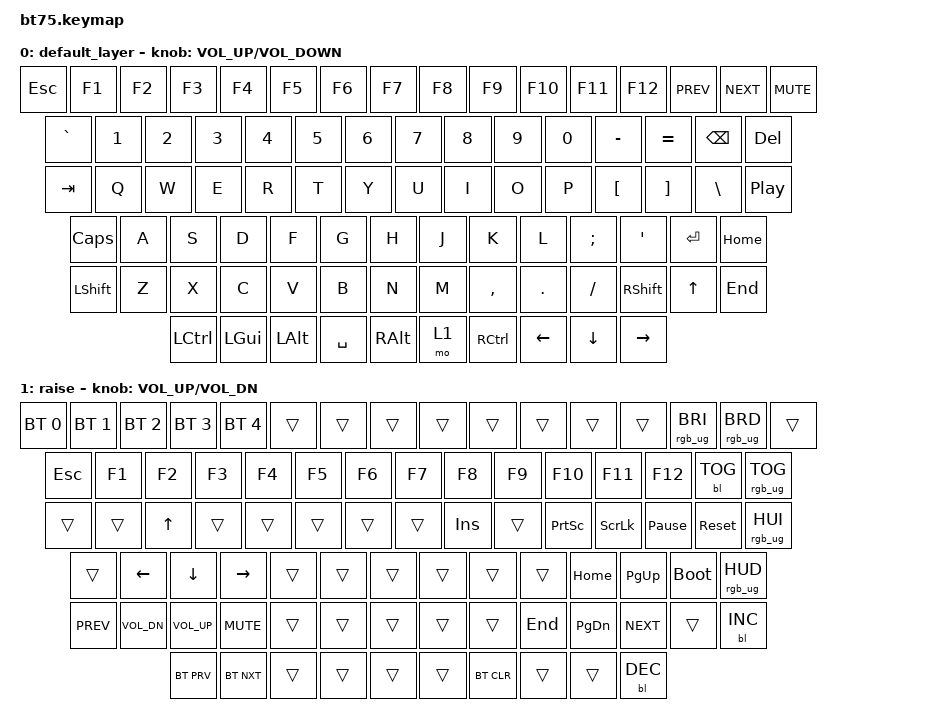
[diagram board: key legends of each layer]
#include <behaviors.dtsi>
#include <dt-bindings/zmk/backlight.h>
#include <dt-bindings/zmk/bt.h>
#include <dt-bindings/zmk/keys.h>
#include <dt-bindings/zmk/rgb.h>

/ {
    keymap {
        compatible = "zmk,keymap";

        default_layer {
            // ------------------------------------------------------------------------------------------------------------
            // | ESC | F1  | F2  | F3  | F4  | F5  | F6  | F7  | F9  | F9  | F10 | F11 | F12 | PSCRN | INS | DEL	|
            // |  `  |  1  |  2  |  3  |  4  |  5  |  6  |  7  |  8  |  9  |  0  |  -  |  =  |   BKSP   | HOME	|
            // | TAB  |  Q  |  W  |  E  |  R  |  T  |  Y  |  U  |  I  |  O  |  P  |  [  |  ]  |    \    | PG UP |
            // | CAPS  |  A  |  S  |  D  |  F  |  G  |  H  |  J  |  K  |  L  |  ;  |  '  |     ENTER     | PG DN |
            // |  SHIFT    |  Z  |  X  |  C  |  V  |  B  |  N  |  M  |  ,  |  .  | /   |    SHIFT |  UP  |  END  |
            // |  CTL  |  WIN  |  ALT  |            SPACE               | ALT | 1  | CTRL |  LEFT | DOWN | RIGHT |
            // ------------------------------------------------------------------------------------------------------------

            bindings = <
  &kp ESC     &kp F1    &kp F2    &kp F3     &kp F4    &kp F5  &kp F6     &kp F7     &kp F8    &kp F9    &kp F10    &kp F11    &kp F12  &kp C_PREV  &kp C_NEXT  &kp C_MUTE
&kp GRAVE     &kp N1    &kp N2    &kp N3     &kp N4    &kp N5  &kp N6     &kp N7     &kp N8    &kp N9     &kp N0  &kp MINUS  &kp EQUAL    &kp BSPC     &kp DEL
  &kp TAB      &kp Q     &kp W     &kp E      &kp R     &kp T   &kp Y      &kp U      &kp I     &kp O      &kp P   &kp LBKT   &kp RBKT    &kp BSLH    &kp C_PP
 &kp CLCK      &kp A     &kp S     &kp D      &kp F     &kp G   &kp H      &kp J      &kp K     &kp L   &kp SEMI    &kp SQT    &kp RET    &kp HOME
&kp LSHFT      &kp Z     &kp X     &kp C      &kp V     &kp B   &kp N      &kp M  &kp COMMA   &kp DOT   &kp FSLH  &kp RSHFT     &kp UP     &kp END
           &kp LCTRL  &kp LGUI  &kp LALT  &kp SPACE  &kp RALT   &mo 1  &kp RCTRL   &kp LEFT  &kp DOWN  &kp RIGHT
            >;

            sensor-bindings = <&inc_dec_kp C_VOLUME_UP C_VOLUME_DOWN>;
        };

        raise {
            bindings = <
&bt BT_SEL 0  &bt BT_SEL 1  &bt BT_SEL 2  &bt BT_SEL 3  &bt BT_SEL 4  &trans  &trans      &trans   &trans   &trans      &trans      &trans           &trans  &rgb_ug RGB_BRI  &rgb_ug RGB_BRD  &trans
     &kp ESC        &kp F1        &kp F2        &kp F3        &kp F4  &kp F5  &kp F6      &kp F7   &kp F8   &kp F9     &kp F10     &kp F11          &kp F12       &bl BL_TOG  &rgb_ug RGB_TOG
      &trans        &trans        &kp UP        &trans        &trans  &trans  &trans      &trans  &kp INS   &trans   &kp PSCRN    &kp SLCK  &kp PAUSE_BREAK       &sys_reset  &rgb_ug RGB_HUI
      &trans      &kp LEFT      &kp DOWN     &kp RIGHT        &trans  &trans  &trans      &trans   &trans   &trans    &kp HOME   &kp PG_UP      &bootloader  &rgb_ug RGB_HUD
  &kp C_PREV  &kp C_VOL_DN  &kp C_VOL_UP    &kp C_MUTE        &trans  &trans  &trans      &trans   &trans  &kp END   &kp PG_DN  &kp C_NEXT           &trans       &bl BL_INC
                &bt BT_PRV    &bt BT_NXT        &trans        &trans  &trans  &trans  &bt BT_CLR   &trans   &trans  &bl BL_DEC
            >;

            sensor-bindings = <&inc_dec_kp C_VOL_UP C_VOL_DN>;
        };
    };
};
